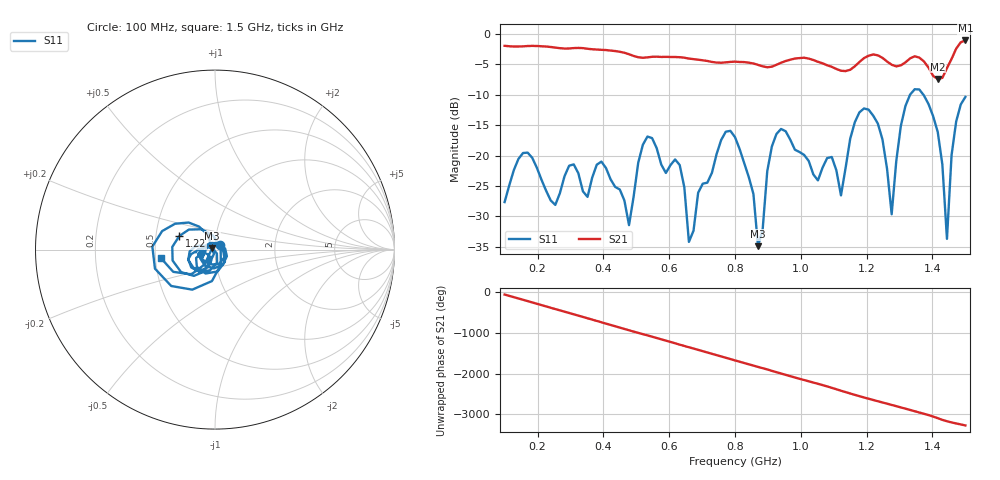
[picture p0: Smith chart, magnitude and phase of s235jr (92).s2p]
! NanoVNA-App
! Date: 2025-09-26 09:45:30
! Start: 100MHz Stop: 1,5GHz Points: 101
! S-Parameter data: F S11 S21 S12 S22
# Hz S RI R 50
!  Frequency  S11_Real  S11_Imag  S21_Real  S21_Imag  S12_Real  S12_Imag  S22_Real  S22_Imag
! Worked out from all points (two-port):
!   101 points, 100 MHz to 1.5 GHz, reference 50 ohm
!   highest |S21| = -1.07 dB at 1.5 GHz (marker M1); lowest = -7.4 dB at 1.416 GHz (marker M2)
!   |S21| within 3 dB of the highest: start of sweep to 662.8 MHz; 1.19 GHz to 1.251 GHz (61.53 MHz wide, 5.04 % of centre) (the widest 2 of 5)
!   lowest |S11| = -34.9 dB at 870 MHz (marker M3), VSWR 1.04, Z = 48.5 + j0.934 ohm
!   |S11| at or under -10 dB: start of sweep to 1.332 GHz; 1.372 GHz to end of sweep
!   S12 and S22 are empty: the file has one direction only
!   S11 on the Smith chart (normalised r, x): 100 MHz: 1.06, +0.06; 1.22 GHz: 0.66, +0.11; 1.5 GHz: 0.54, -0.06
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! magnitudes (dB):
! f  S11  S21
! 100 MHz  -27.6  -2.0
! 156 MHz  -19.6  -2.0
! 338 MHz  -25.9  -2.3
! 394 MHz  -21.0  -2.6
! 478 MHz  -31.4  -3.3
! 520 MHz  -18.2  -3.9
! 576 MHz  -21.5  -3.8
! 632 MHz  -21.6  -3.8
! 660 MHz  -34.2  -4.1
! 800 MHz  -17.0  -4.6
! 870 MHz  -34.9  -5.1
! 926 MHz  -16.4  -5.1
! 1.038 GHz  -23.1  -4.3
! 1.122 GHz  -26.5  -6.1
! 1.164 GHz  -14.5  -5.3
! 1.22 GHz  -13.4  -3.4
! 1.276 GHz  -29.6  -5.1
! 1.332 GHz  -10.0  -4.0
! 1.416 GHz  -16.1  -7.4
! 1.444 GHz  -33.7  -5.6
! 1.458 GHz  -19.9  -4.1
! 1.5 GHz  -10.4  -1.1
